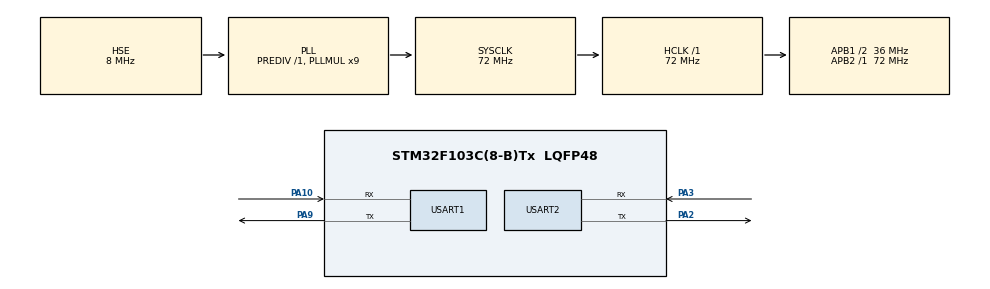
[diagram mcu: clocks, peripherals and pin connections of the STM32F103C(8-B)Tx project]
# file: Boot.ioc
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Mcu.Family=STM32F1
Mcu.Name=STM32F103C(8-B)Tx
Mcu.Package=LQFP48
NVIC.PriorityGroup=NVIC_PRIORITYGROUP_4
NVIC.USART1_IRQn=true\:0\:0\:false\:false\:true\:true\:true
NVIC.USART2_IRQn=true\:0\:0\:false\:false\:true\:true\:true
PA10.Mode=Asynchronous
PA10.Signal=USART1_RX
PA13.Mode=Serial_Wire
PA13.Signal=SYS_JTMS-SWDIO
PA14.Mode=Serial_Wire
PA14.Signal=SYS_JTCK-SWCLK
PA2.Mode=Asynchronous
PA2.Signal=USART2_TX
PA3.Mode=Asynchronous
PA3.Signal=USART2_RX
PA9.Mode=Asynchronous
PA9.Signal=USART1_TX
PD0-OSC_IN.Mode=HSE-External-Oscillator
PD0-OSC_IN.Signal=RCC_OSC_IN
PD1-OSC_OUT.Mode=HSE-External-Oscillator
PD1-OSC_OUT.Signal=RCC_OSC_OUT
ProjectManager.HeapSize=0x200
ProjectManager.StackSize=0x800
ProjectManager.TargetToolchain=MDK-ARM V5
RCC.AHBFreq_Value=72000000
RCC.APB1CLKDivider=RCC_HCLK_DIV2
RCC.APB1Freq_Value=36000000
RCC.APB1TimFreq_Value=72000000
RCC.APB2Freq_Value=72000000
RCC.APB2TimFreq_Value=72000000
RCC.HCLKFreq_Value=72000000
RCC.PLLMUL=RCC_PLL_MUL9
RCC.PLLSourceVirtual=RCC_PLLSOURCE_HSE
RCC.SYSCLKFreq_VALUE=72000000
RCC.SYSCLKSource=RCC_SYSCLKSOURCE_PLLCLK
RCC.USBFreq_Value=72000000
USART1.VirtualMode=VM_ASYNC
USART2.VirtualMode=VM_ASYNC
board=Boot-STM32F103C8

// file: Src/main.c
/**
  ******************************************************************************
  * File Name          : main.c
  * Description        : Main program body
  ******************************************************************************
  ** This notice applies to any and all portions of this file
  * that are not between comment pairs USER CODE BEGIN and
  * USER CODE END. Other portions of this file, whether
  * inserted by the user or by software development tools
  * are owned by their respective copyright owners.
  *
  * COPYRIGHT(c) 2020 STMicroelectronics
  *
  * Redistribution and use in source and binary forms, with or without modification,
  * are permitted provided that the following conditions are met:
  *   1. Redistributions of source code must retain the above copyright notice,
  *      this list of conditions and the following disclaimer.
  *   2. Redistributions in binary form must reproduce the above copyright notice,
  *      this list of conditions and the following disclaimer in the documentation
  *      and/or other materials provided with the distribution.
  *   3. Neither the name of STMicroelectronics nor the names of its contributors
  *      may be used to endorse or promote products derived from this software
  *      without specific prior written permission.
  *
  * THIS SOFTWARE IS PROVIDED BY THE COPYRIGHT HOLDERS AND CONTRIBUTORS "AS IS"
  * AND ANY EXPRESS OR IMPLIED WARRANTIES, INCLUDING, BUT NOT LIMITED TO, THE
  * IMPLIED WARRANTIES OF MERCHANTABILITY AND FITNESS FOR A PARTICULAR PURPOSE ARE
  * DISCLAIMED. IN NO EVENT SHALL THE COPYRIGHT HOLDER OR CONTRIBUTORS BE LIABLE
  * FOR ANY DIRECT, INDIRECT, INCIDENTAL, SPECIAL, EXEMPLARY, OR CONSEQUENTIAL
  * DAMAGES (INCLUDING, BUT NOT LIMITED TO, PROCUREMENT OF SUBSTITUTE GOODS OR
  * SERVICES; LOSS OF USE, DATA, OR PROFITS; OR BUSINESS INTERRUPTION) HOWEVER
  * CAUSED AND ON ANY THEORY OF LIABILITY, WHETHER IN CONTRACT, STRICT LIABILITY,
  * OR TORT (INCLUDING NEGLIGENCE OR OTHERWISE) ARISING IN ANY WAY OUT OF THE USE
  * OF THIS SOFTWARE, EVEN IF ADVISED OF THE POSSIBILITY OF SUCH DAMAGE.
  *
  ******************************************************************************
  */
#include "main.h"
#include "stm32f1xx_hal.h"
#include "usart.h"
#include "gpio.h"

/* USER CODE BEGIN Includes */
#include "common.h"
/* USER CODE END Includes */

/* USER CODE BEGIN PV */
/* Private variables ---------------------------------------------------------*/
volatile uint8_t FlagData[20] ;//__attribute__((at(FlagAddress))) = "APP-V0.1-2017-08-04";

/* USER CODE END PV */

void SystemClock_Config(void);

/* USER CODE BEGIN PFP */
/* Private function prototypes -----------------------------------------------*/

/* USER CODE END PFP */

int main(void)
{

  /* MCU Configuration----------------------------------------------------------*/

  /* Reset of all peripherals, Initializes the Flash interface and the Systick. */
  HAL_Init();

  /* Configure the system clock */
  SystemClock_Config();

  /* Initialize all configured peripherals */
  MX_GPIO_Init();
  MX_USART1_UART_Init();
  MX_USART2_UART_Init();

  /* USER CODE BEGIN 2 */

    printf("\r\n======================================================================");
    printf("\r\n=     In-Application Programming Application  (Version 0.0.1)        =");
    printf("\r\n=                                                                    =");
    printf("\r\n=                                      By Kian                       =");
    printf("\r\n=                                      2017-07-27                    =");
    printf("\r\n======================================================================");
    printf("\r\n\r\n");

    /*
     * FLASH 测试代码�?
     * FLASH的操作流程都�? 解锁 -> 擦除 -> 写数�? -> 上锁
     */
    #if 0
    //1、解锁FLASH
    HAL_FLASH_Unlock();

    //2、擦除FLASH
    //初始化FLASH_EraseInitTypeDef
    FLASH_EraseInitTypeDef f;
    f.TypeErase = FLASH_TYPEERASE_PAGES;
    f.PageAddress = ApplicationAddress;
    f.NbPages = 1; //1页大小为1K
    //设置PageError
    uint32_t PageError = 0;
    //调用擦除函数
    HAL_FLASHEx_Erase(&f, &PageError);

    writeFlashData = (uint32_t)temp[3];
    writeFlashData = (writeFlashData<<8) + (uint32_t)temp[2];
    writeFlashData = (writeFlashData<<8) + (uint32_t)temp[1];
    writeFlashData = (writeFlashData<<8) + (uint32_t)temp[0];
    //3、对FLASH烧写
    HAL_FLASH_Program(TYPEPROGRAM_WORD, (FlagAddress), writeFlashData);

    //4、锁住FLASH
    HAL_FLASH_Lock();
    #endif
    #if 1
    for(uint8_t i = 0; i < 20; i++)
    {
        FlagData[i] = *(__IO uint32_t*)(FlagAddress + i);
    }
    #endif

  /* USER CODE END 2 */

  /* Infinite loop */
  while (1)
  {

  /* USER CODE BEGIN 3 */
    if((FlagData[0]=='A')&&(FlagData[1]=='P')&&(FlagData[2]=='P')&&(FlagData[3]=='-'))
    {
        printf("\r\n[Application Version]: ");
        printf("%s",FlagData);
        printf("\r\n APP Start ...\r\n\r\n\r\n");

        JumpToAPP();
    }
    else
    {

        /* Download user application in the Flash */
        SerialDownload();
        HAL_NVIC_SystemReset();//Initiates a system reset request to reset the MCU.
    }

    // status_flag = HAL_UART_Receive(&huart1,&a, 1, 0x3E8);

  }
  /* USER CODE END 3 */

}

/** System Clock Configuration
*/
void SystemClock_Config(void)
{

  RCC_OscInitTypeDef RCC_OscInitStruct;
  RCC_ClkInitTypeDef RCC_ClkInitStruct;

    /**Initializes the CPU, AHB and APB busses clocks
    */
  RCC_OscInitStruct.OscillatorType = RCC_OSCILLATORTYPE_HSE;
  RCC_OscInitStruct.HSEState = RCC_HSE_ON;
  RCC_OscInitStruct.HSEPredivValue = RCC_HSE_PREDIV_DIV1;
  RCC_OscInitStruct.HSIState = RCC_HSI_ON;
  RCC_OscInitStruct.PLL.PLLState = RCC_PLL_ON;
  RCC_OscInitStruct.PLL.PLLSource = RCC_PLLSOURCE_HSE;
  RCC_OscInitStruct.PLL.PLLMUL = RCC_PLL_MUL9;
  if (HAL_RCC_OscConfig(&RCC_OscInitStruct) != HAL_OK)
  {
    _Error_Handler(__FILE__, __LINE__);
  }

    /**Initializes the CPU, AHB and APB busses clocks
    */
  RCC_ClkInitStruct.ClockType = RCC_CLOCKTYPE_HCLK|RCC_CLOCKTYPE_SYSCLK
                              |RCC_CLOCKTYPE_PCLK1|RCC_CLOCKTYPE_PCLK2;
  RCC_ClkInitStruct.SYSCLKSource = RCC_SYSCLKSOURCE_PLLCLK;
  RCC_ClkInitStruct.AHBCLKDivider = RCC_SYSCLK_DIV1;
  RCC_ClkInitStruct.APB1CLKDivider = RCC_HCLK_DIV2;
  RCC_ClkInitStruct.APB2CLKDivider = RCC_HCLK_DIV1;

  if (HAL_RCC_ClockConfig(&RCC_ClkInitStruct, FLASH_LATENCY_2) != HAL_OK)
  {
    _Error_Handler(__FILE__, __LINE__);
  }

    /**Configure the Systick interrupt time
    */
  HAL_SYSTICK_Config(HAL_RCC_GetHCLKFreq()/1000);

    /**Configure the Systick
    */
  HAL_SYSTICK_CLKSourceConfig(SYSTICK_CLKSOURCE_HCLK);

  /* SysTick_IRQn interrupt configuration */
  HAL_NVIC_SetPriority(SysTick_IRQn, 0, 0);
}

void _Error_Handler(char * file, int line)
{
  while(1)
  {
  }
}

/************************ (C) COPYRIGHT STMicroelectronics *****END OF FILE****/
